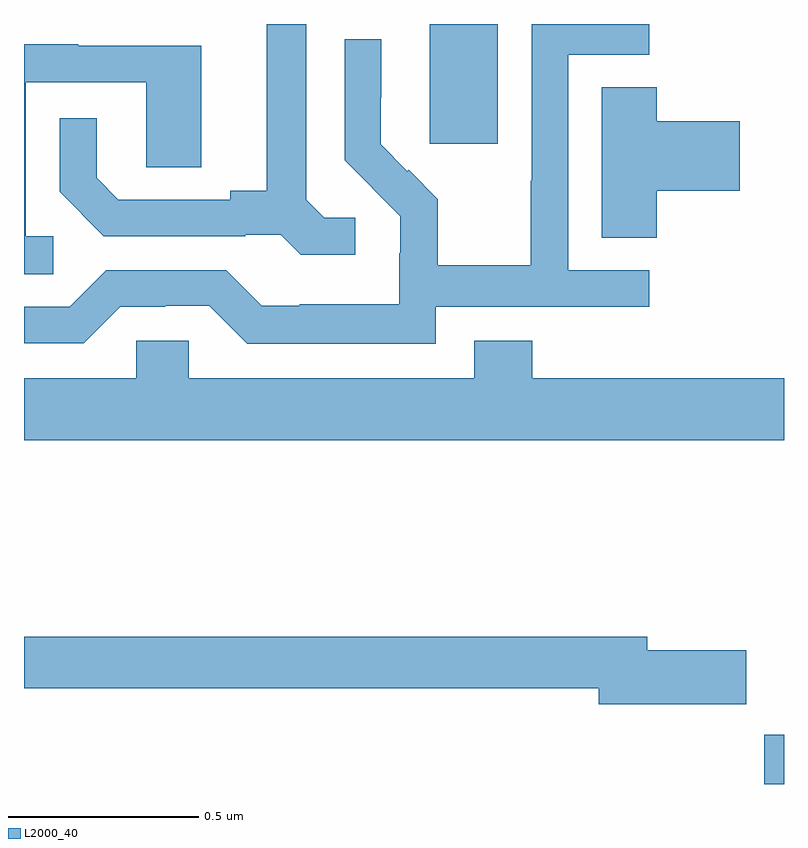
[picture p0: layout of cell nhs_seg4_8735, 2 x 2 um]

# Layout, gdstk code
import gdstk
lib = gdstk.Library(unit=1e-6, precision=1e-09)
def R(c, l, rs):  # rectangles x0, y0, x1, y1
    for r in rs: c.add(gdstk.rectangle(r[:2], r[2:], *l))
def P(c, l, *ps):  # polygons
    for p in ps: c.add(gdstk.Polygon(p, *l))
L2000_40 = (2000, 40)

nhs_seg4_8735 = lib.new_cell('nhs_seg4_8735')
R(nhs_seg4_8735, L2000_40, [(219.948,811.9,220,812.03), (219.068,813.585,219.247,813.9)])
P(nhs_seg4_8735, L2000_40, [(219.084,813.156),(219.646,813.156),(219.646,813.252),(219.432,813.252),(219.432,813.819),(219.646,813.819),(219.646,813.9),(219.336,813.9),(219.336,813.488),(219.334,813.488),(219.334,813.265),(219.089,813.265),(219.089,813.439),(219.012,813.516),(219.009,813.513),(218.939,813.584),(218.939,813.706),(218.94,813.706),(218.94,813.86),(218.844,813.86),(218.844,813.542),(218.917,813.469),(218.916,813.468),(218.99,813.394),(218.99,813.297),(218.988,813.297),(218.988,813.163),(218.725,813.163),(218.725,813.159),(218.625,813.159),(218.532,813.252),(218.217,813.252),(218.121,813.156),(218,813.156),(218,813.06),(218.157,813.06),(218.253,813.156),(218.372,813.156),(218.372,813.159),(218.487,813.159),(218.587,813.059),(219.084,813.059)],
  [(218.872,813.39),(218.79,813.39),(218.743,813.437),(218.743,813.9),(218.639,813.9),(218.639,813.461),(218.543,813.461),(218.543,813.438),(218.248,813.438),(218.191,813.495),(218.191,813.652),(218.094,813.652),(218.094,813.458),(218.21,813.342),(218.582,813.342),(218.582,813.345),(218.676,813.345),(218.728,813.293),(218.872,813.293)],
  [(218.077,813.342),(218.004,813.342),(218.004,813.747),(218.322,813.747),(218.322,813.523),(218.467,813.523),(218.467,813.843),(218.143,813.843),(218.143,813.847),(218,813.847),(218,813.241),(218.077,813.241)],
  [(219.665,813.461),(219.883,813.461),(219.883,813.644),(219.665,813.644),(219.665,813.734),(219.521,813.734),(219.521,813.337),(219.665,813.337)],
  [(220,812.968),(219.338,812.968),(219.338,813.067),(219.185,813.067),(219.185,812.968),(218.433,812.968),(218.433,813.066),(218.295,813.066),(218.295,812.968),(218,812.968),(218,812.804),(220,812.804)],
  [(219.901,812.252),(219.64,812.252),(219.64,812.288),(218,812.288),(218,812.152),(219.512,812.152),(219.512,812.11),(219.901,812.11)])

lib.write_gds('nhs_seg4_8735.gds')
